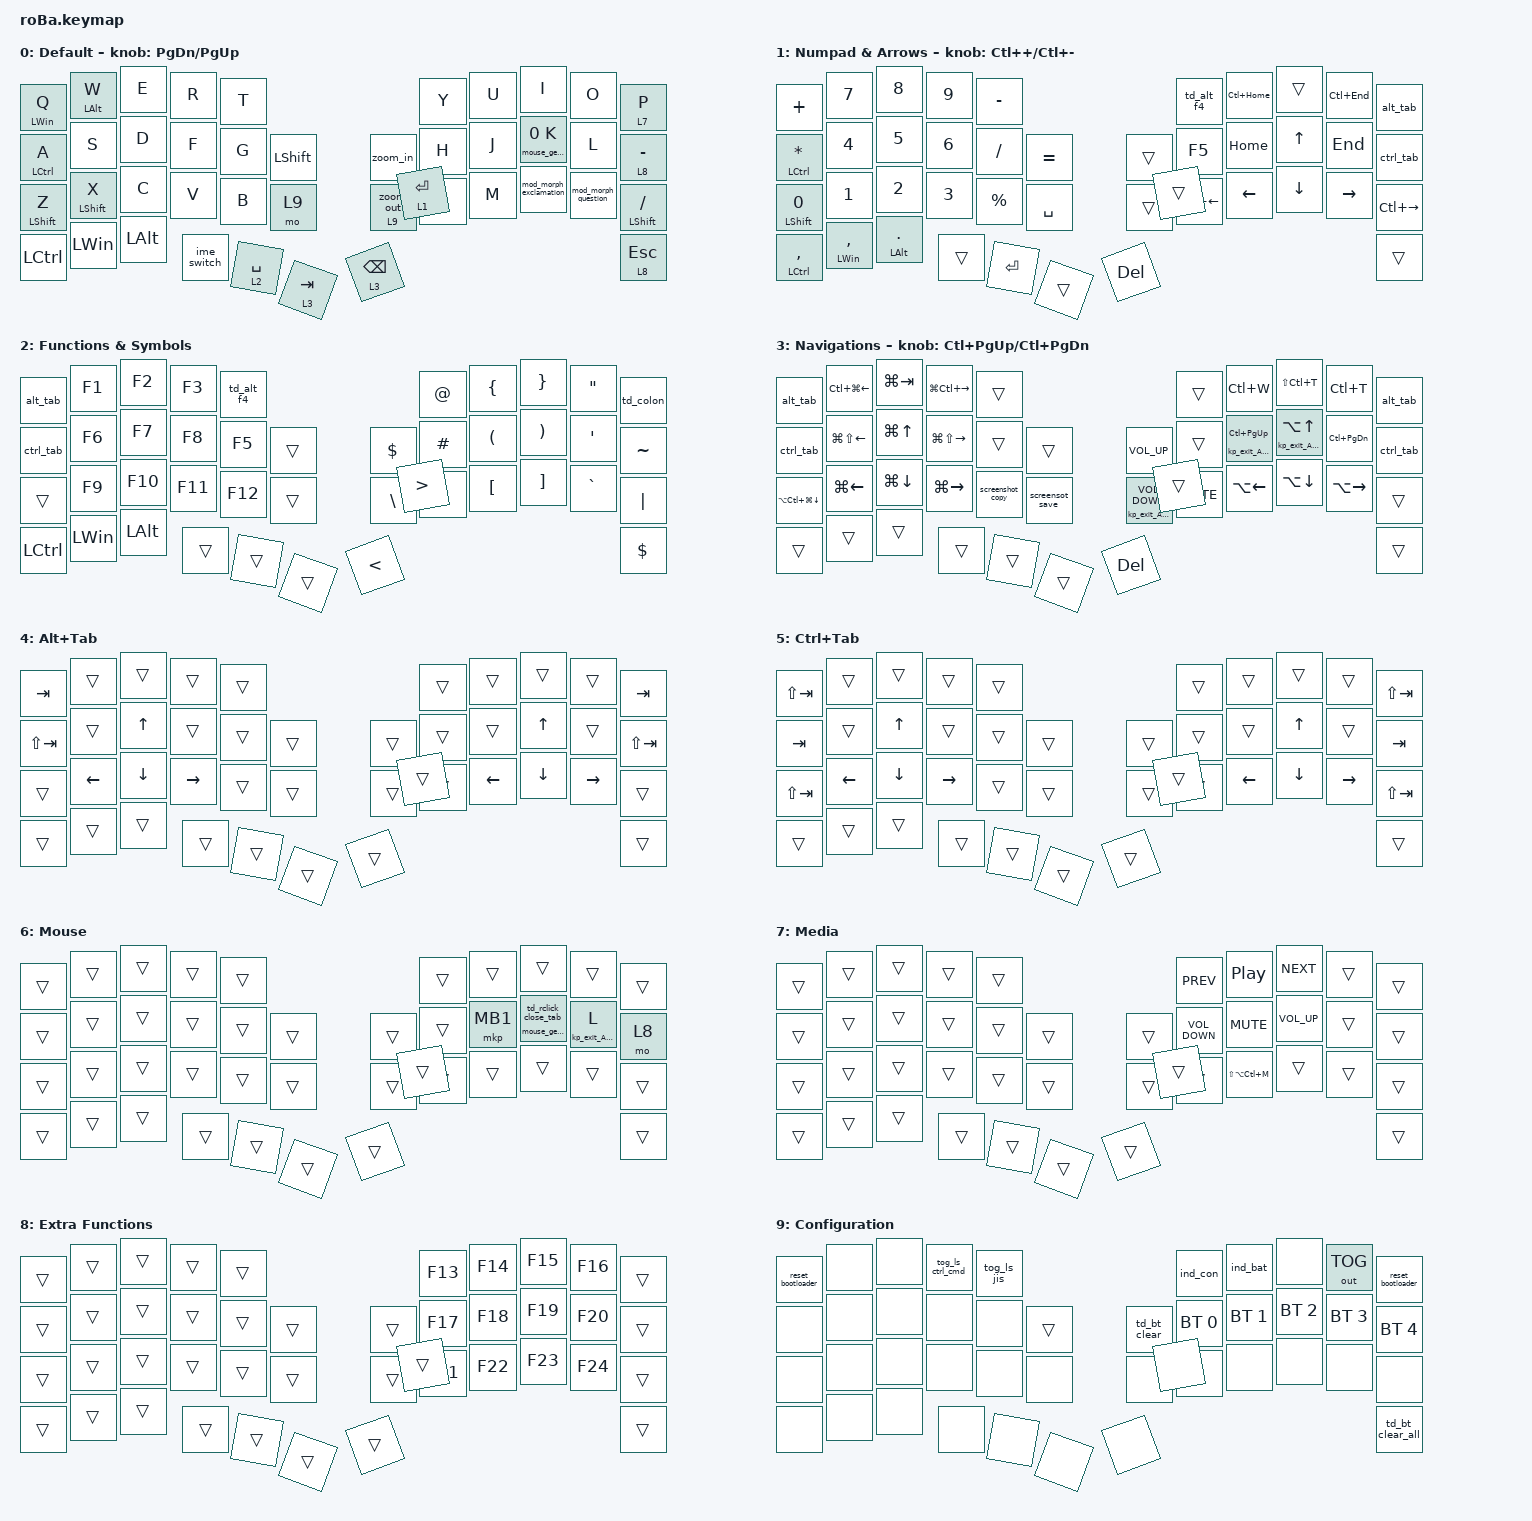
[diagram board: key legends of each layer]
#define ZMK_POINTING_DEFAULT_SCRL_VAL 1000

// #define ZMK_POINTING_DEFAULT_MOVE_VAL 700

#include <input/processors.dtsi>
#include <dt-bindings/zmk/input_transform.h>
#include <zephyr/dt-bindings/input/input-event-codes.h>
#include <behaviors/rgbled_widget.dtsi>
#include <input/processors/report_rate_limit.dtsi>
#include <behaviors/blueboot.dtsi>

#include <behaviors.dtsi>
#include <dt-bindings/zmk/bt.h>
#include <dt-bindings/zmk/keys.h>
#include <dt-bindings/zmk/outputs.h>
#include <dt-bindings/zmk/pointing.h>

#include <layout_shift_kp_override.dtsi>

/ {
    behaviors {
        tog_ls_jis: tog_ls_jis {
            compatible = "zmk,behavior-layout-shift-toggle";
            #binding-cells = <0>;
            toggle-mode = "flip";
            label = "LAYOUT_SHIFT_TOGGLE_US_TO_JIS";
            display-name = "Toggle Layout Shift";
            layout-maps = <&layout_shift_map_us_to_jis>;
        };

        tog_ls_ctrl_cmd: tog_ls_ctrl_cmd {
            compatible = "zmk,behavior-layout-shift-toggle";
            #binding-cells = <0>;
            toggle-mode = "flip";
            label = "LAYOUT_SHIFT_TOGGLE_CTRL_CMD";
            display-name = "Toggle Layout Shift";
            layout-maps = <&layout_shift_map_swap_ctrl_cmd>;
        };
    };
};

&layout_shift_map_us_to_jis { priority = <0>; };
&layout_shift_map_swap_ctrl_cmd { priority = <1>; };

#include <mouse-gesture.dtsi>

#include <scroll-snap.dtsi>

#define DEFAULT 0
#define NUMPAD_AND_ARROWS 1
#define FUNCTIONS_AND_SYMBOLS 2
#define NAV 3
#define ALT_TAB 4
#define CTRL_TAB 5
#define MOUSE 6
#define MEDIA 7
#define EXTRA_FINCTIONS 8
#define CONFIGURATION 9

#define POS_L_0_START 0
#define POS_L_1_START 10
#define POS_L_2_START 22
#define POS_L_3_START 34
#define POS_R_0_START (POS_L_0_START + 5)
#define POS_R_1_START (POS_L_1_START + 6)
#define POS_R_2_START (POS_L_2_START + 6)
#define POS_R_3_START (POS_L_3_START + 6)
#define POS_L_0_END (POS_R_0_START - 1)
#define POS_L_1_END (POS_R_1_START - 1)
#define POS_L_2_END (POS_R_2_START - 1)
#define POS_L_3_END (POS_R_3_START - 1)
#define POS_R_0_END (POS_L_1_START - 1)
#define POS_R_1_END (POS_L_2_START - 1)
#define POS_R_2_END (POS_L_3_START - 1)
#define POS_R_3_END (POS_L_3_START + 2)

&mt {
    tapping-term-ms = <200>;
    quick-tap-ms = <250>;
    flavor = "balanced";
};

&lt {
    tapping-term-ms = <200>;
    quick-tap-ms = <250>;
    flavor = "balanced";
};

&to { /delete-property/ locking; };

&tog { /delete-property/ locking; };

&sk { release-after-ms = <700>; };

&sl { release-after-ms = <1000>; };

&mouse_gesture_kp {
    tapping-term-ms = <200>;
    quick-tap-ms = <250>;
    flavor = "balanced";
};

&mouse_gesture_mkp {
    tapping-term-ms = <200>;
    quick-tap-ms = <250>;
    flavor = "balanced";
};

&zip_temp_layer {
    require-prior-idle-ms = <200>;
    excluded-positions = <
        (POS_R_1_START + 2) // J
        (POS_R_1_START + 3) // K
        (POS_R_1_START + 4) // L
        (POS_R_1_START + 5) // ;
        (POS_L_2_START) // Z
        (POS_L_3_START) // Ctrl
        (POS_R_3_END) // /
    >;
};

&mkp_input_listener { input-processors = <&zip_temp_layer MOUSE 10000>; };

&trackball {
    cpi = <800>;
    swap-xy;
    // invert-x;
    // invert-y;
};

&zip_mouse_gesture {
    stroke-size = <150>;
    enable-eager-mode;
    suppress-movement;

    history_back {
        pattern = <GESTURE_RIGHT>;
        bindings = <&kp LA(LEFT)>;
    };

    history_forward {
        pattern = <GESTURE_LEFT>;
        bindings = <&kp LA(RIGHT)>;
    };

    close_tab {
        pattern = <GESTURE_DOWN GESTURE_RIGHT>;
        bindings = <&kp LC(W)>;
    };

    new_tab {
        pattern = <GESTURE_DOWN GESTURE_LEFT>;
        bindings = <&kp LC(T)>;
    };

    app_switcher {
        pattern = <GESTURE_DOWN GESTURE_UP>;
        bindings = <&kp LG(TAB)>;
    };

    virtual_desktop_prev {
        pattern = <GESTURE_LEFT GESTURE_DOWN>;
        bindings = <&kp LG(LC(LEFT))>;
    };

    virtual_desktop_next {
        pattern = <GESTURE_RIGHT GESTURE_DOWN>;
        bindings = <&kp LG(LC(RIGHT))>;
    };

    // left {
    //     gesture = <GESTURE_LEFT>;
    //     bindings = <&kp LEFT>;
    // };
    // right {
    //     gesture = <GESTURE_RIGHT>;
    //     bindings = <&kp RIGHT>;
    // };
    // up {
    //     gesture = <GESTURE_UP>;
    //     bindings = <&kp UP>;
    // };
    // down {
    //     gesture = <GESTURE_DOWN>;
    //     bindings = <&kp DOWN>;
    // };
};

&zip_scroll_snap {
    require-n-samples = <8>;
    immediate-snap-threshold = <750>;
    lock-duration-ms = <175>;
    lock-for-next-n-events = <8>;
    idle-reset-timeout-ms = <175>;
};

&trackball_listener {
    compatible = "zmk,input-listener";
    input-processors = <
        &zip_xy_transform (INPUT_TRANSFORM_XY_SWAP | INPUT_TRANSFORM_X_INVERT)
        &zip_mouse_gesture
        &zip_report_rate_limit 11
        // &zip_cursor_snap
    >;

    auto-mouse-layer {
        layers = <DEFAULT MOUSE>;
        input-processors = <&zip_temp_layer MOUSE 10000>;
        process-next;
    };

    scroller-x {
        layers = <EXTRA_FINCTIONS>;
        input-processors = <
            &zip_xy_transform (INPUT_TRANSFORM_XY_SWAP | INPUT_TRANSFORM_X_INVERT | INPUT_TRANSFORM_Y_INVERT)
            &zip_xy_to_scroll_mapper
            &wheel_x_scaler 0 1
            &zip_report_rate_limit 15
        >;

        process-next;
    };

    scroller-xy {
        layers = <NAV MEDIA>;
        input-processors = <
            &zip_xy_transform (INPUT_TRANSFORM_XY_SWAP | INPUT_TRANSFORM_X_INVERT | INPUT_TRANSFORM_Y_INVERT)
            &zip_xy_to_scroll_mapper
            &zip_scroll_snap
            &zip_report_rate_limit 15
        >;

        process-next;
    };
};

/ {
    input_processors {
        wheel_x_scaler: wheel_x_scaler {
            compatible = "zmk,input-processor-scaler";
            #input-processor-cells = <2>;
            type = <INPUT_EV_REL>;
            codes = <INPUT_REL_HWHEEL>;
            track-remainders;
        };
    };

    layer_listeners {
        compatible = "zmk,layer-listeners";

        // release_alt {
        //     layers = <ALT_TAB>;
        //     bindings = <&kt_on LEFT_ALT &kt_off LEFT_ALT>;
        // };

        // release_ctrl {
        //     layers = <CTRL_TAB>;
        //     bindings = <&kt_on LCTRL &kt_off LCTRL>;
        // };

        // AML_indicator {
        //     layers = <MOUSE>;
        //     bindings = <&kp LS(LA(LC(LG(H)))) &kp LS(LA(LC(LG(H))))>;
        // };
        // AML {
        //     layers = <MOUSE>;
        //     bindings = <&to MOUSE &none>;
        // };
    };

    combos {
        compatible = "zmk,combos";

        eq {
            bindings = <&kp EQUAL>;
            key-positions = <0 1>;
            layers = <1>;
        };

        hat {
            bindings = <&kp CARET>;
            key-positions = <10 11>;
            layers = <1>;
        };

        middle_click {
            bindings = <&mkp MCLK>;
            key-positions = <18 19>;
            layers = <6>;
        };

        shift_middle_click {
            bindings = <&mkp_with_mod LEFT_SHIFT MCLK>;
            key-positions = <19 20>;
            layers = <6>;
        };

        Escape {
            bindings = <&kp ESCAPE>;
            key-positions = <0 1>;
            layers = <0>;
            require-prior-idle-ms = <300>;
        };

        caps_word {
            bindings = <&caps_word>;
            key-positions = <22 33>;
            layers = <0>;
            require-prior-idle-ms = <300>;
        };

        dot_slash_backslash {
            bindings = <&kp BACKSLASH>;
            key-positions = <33 32>;
            layers = <0>;
        };

        Ctrl_A {
            bindings = <&kp LC(A)>;
            key-positions = <10 11>;
            layers = <0>;
            require-prior-idle-ms = <300>;
        };

        Ctrl_Z {
            bindings = <&kp LC(Z)>;
            key-positions = <23 22>;
            layers = <0>;
            require-prior-idle-ms = <300>;
        };
    };

    macros {
        /omit-if-no-ref/

        exit_AML: exit_AML {
            compatible = "zmk,behavior-macro";
            wait-ms = <0>;
            tap-ms = <0>;
            #binding-cells = <0>;
            bindings = <&tog_off 6>;
        };

        /omit-if-no-ref/

        kp_exit_AML: kp_exit_AML {
            compatible = "zmk,behavior-macro-one-param";
            wait-ms = <0>;
            tap-ms = <0>;
            #binding-cells = <1>;
            bindings = <&macro_param_1to1 &kp MACRO_PLACEHOLDER &exit_AML>;
        };

        /omit-if-no-ref/

        mod_exit_AML: mod_exit_AML {
            compatible = "zmk,behavior-macro-one-param";
            wait-ms = <0>;
            tap-ms = <0>;
            #binding-cells = <1>;
            bindings =
                <&macro_press>,
                <&macro_param_1to1 &kp MACRO_PLACEHOLDER>,
                <&macro_tap>,
                <&exit_AML>,
                <&macro_pause_for_release>,
                <&macro_release>,
                <&macro_param_1to1 &kp MACRO_PLACEHOLDER>;
        };

        /omit-if-no-ref/

        mkp_exit_AML: mkp_exit_AML {
            compatible = "zmk,behavior-macro-one-param";
            #binding-cells = <1>;
            bindings =
                <&macro_press>,
                <&macro_param_1to1 &mkp MACRO_PLACEHOLDER>,
                <&macro_pause_for_release>,
                <&macro_release>,
                <&macro_param_1to1 &mkp MACRO_PLACEHOLDER>,
                <&macro_tap>,
                <&sl 6>;
        };

        /omit-if-no-ref/

        mo_exit_AML: mo_exit_AML {
            compatible = "zmk,behavior-macro-one-param";
            wait-ms = <0>;
            tap-ms = <0>;
            #binding-cells = <1>;
            bindings =
                <&macro_press>,
                <&macro_param_1to1 &mo MACRO_PLACEHOLDER>,
                <&macro_tap>,
                <&exit_AML>,
                <&macro_pause_for_release>,
                <&macro_release>,
                <&macro_param_1to1 &mo MACRO_PLACEHOLDER>,
                <&macro_tap>;
        };

        /omit-if-no-ref/
        ime_switch: ime_switch {
            compatible = "zmk,behavior-adaptive-key";
            #binding-cells = <0>;
            bindings = <&kp LANGUAGE_2>; // ime_off

            ime_on {
                trigger-keys = <LANGUAGE_1 LANGUAGE_2>;
                bindings = <&kp LANGUAGE_1>;
                max-prior-idle-ms = <250>;
            };
        };

        /omit-if-no-ref/
        alt_tab: alt_tab {
            compatible = "zmk,behavior-smart-toggle";
            #binding-cells = <0>;
            bindings = <&mokp 4 LALT>, <&kp TAB>;
            ignored-key-positions = <
                (POS_L_1_START) // shift+tab
                (POS_R_1_END) // shift+tab

                (POS_R_1_START+2) // click

                (POS_L_1_START + 2) // ↑
                (POS_L_2_START + 1) // ←
                (POS_L_2_START + 2) // ↓
                (POS_L_2_START + 3) // →

                (POS_R_1_START + 3) // ↑
                (POS_R_2_START + 2) // ←
                (POS_R_2_START + 3) // ↓
                (POS_R_2_START + 4) // →
            >;
        };

        /omit-if-no-ref/

        ctrl_tab: ctrl_tab {
            compatible = "zmk,behavior-smart-toggle";
            #binding-cells = <0>;
            bindings = <&mokp 5 LCTRL>, <&kp TAB>;
            ignored-key-positions = <
                (POS_L_0_START) // shift+tab
                (POS_L_2_START) // shift+tab
                (POS_R_0_END) // shift+tab
                (POS_R_2_END) // shift+tab

                (POS_R_1_START+2) // click

                (POS_L_1_START + 2) // ↑
                (POS_L_2_START + 1) // ←
                (POS_L_2_START + 2) // ↓
                (POS_L_2_START + 3) // →

                (POS_R_1_START + 3) // ↑
                (POS_R_2_START + 2) // ←
                (POS_R_2_START + 3) // ↓
                (POS_R_2_START + 4) // →
            >;
        };

        /omit-if-no-ref/

        mokp: mokp {
            compatible = "zmk,behavior-macro-two-param";
            wait-ms = <0>;
            tap-ms = <0>;
            #binding-cells = <2>;
            bindings =
                <&macro_press>,
                <&macro_param_1to1 &mo MACRO_PLACEHOLDER>,
                <&macro_param_2to1 &kp MACRO_PLACEHOLDER>,
                <&macro_pause_for_release>,
                <&macro_release>,
                <&macro_param_1to1 &mo MACRO_PLACEHOLDER>,
                <&macro_param_2to1 &kp MACRO_PLACEHOLDER>;
        };

        /omit-if-no-ref/

        kp_to: kp_to {
            compatible = "zmk,behavior-macro-two-param";
            wait-ms = <0>;
            tap-ms = <0>;
            #binding-cells = <2>;
            bindings = <&macro_param_1to1 &kp MACRO_PLACEHOLDER &macro_param_2to1 &to MACRO_PLACEHOLDER>;
        };

        /omit-if-no-ref/

        to_kp: to_kp {
            compatible = "zmk,behavior-macro-two-param";
            #binding-cells = <2>;
            bindings = <&macro_param_1to1 &to MACRO_PLACEHOLDER &macro_param_2to1 &kp MACRO_PLACEHOLDER>;
        };

        /omit-if-no-ref/

        zoom_in: zoom_in {
            compatible = "zmk,behavior-macro";
            #binding-cells = <0>;
            bindings = <&kt_on LCTRL &msc SCRL_UP &kt_off LCTRL>;
        };

        /omit-if-no-ref/

        zoom_out: zoom_out {
            compatible = "zmk,behavior-macro";
            #binding-cells = <0>;
            bindings = <&kt_on LCTRL &msc SCRL_DOWN &kt_off LCTRL>;
        };
    };

    behaviors {
        /omit-if-no-ref/

        tog_on: toggle_layer_on {
            compatible = "zmk,behavior-toggle-layer";
            #binding-cells = <1>;
            display-name = "Toggle Layer On";
            toggle-mode = "on";
        };

        /omit-if-no-ref/

        tog_off: toggle_layer_off {
            compatible = "zmk,behavior-toggle-layer";
            #binding-cells = <1>;
            display-name = "Toggle Layer Off";
            toggle-mode = "off";
        };

        /omit-if-no-ref/

        kt_on: key_toggle_on_only {
            compatible = "zmk,behavior-key-toggle";
            #binding-cells = <1>;
            display-name = "Key Toggle On";
            toggle-mode = "on";
        };

        /omit-if-no-ref/

        kt_off: key_toggle_off_only {
            compatible = "zmk,behavior-key-toggle";
            #binding-cells = <1>;
            display-name = "Key Toggle Off";
            toggle-mode = "off";
        };

        /omit-if-no-ref/

        td_colon: td_colon {
            compatible = "zmk,behavior-tap-dance";
            #binding-cells = <0>;
            bindings = <&kp COLON>, <&kp SEMICOLON>;

            tapping-term-ms = <250>;
        };

        /omit-if-no-ref/

        td_q_escape: td_q_escape {
            compatible = "zmk,behavior-tap-dance";
            #binding-cells = <0>;
            tapping-term-ms = <250>;
            bindings = <&kp Q>, <&kp ESCAPE>;
        };

        /omit-if-no-ref/

        td_ZenkakuHankaku: td_ZenkakuHankaku {
            compatible = "zmk,behavior-tap-dance";

            // compatible = "zmk,behavior-eager-tap-dance";

            #binding-cells = <0>;
            tapping-term-ms = <250>;
            bindings = <&kp LANGUAGE_2>, <&kp LANGUAGE_1>;
        };

        /omit-if-no-ref/

        td_ZenkakuHankaku_exit_AML: td_ZenkakuHankaku_exit_AML {
            wait-ms = <0>;
            tap-ms = <0>;
            compatible = "zmk,behavior-macro";
            #binding-cells = <0>;
            bindings = <&td_ZenkakuHankaku &exit_AML>;
        };

        /omit-if-no-ref/

        windows_sleep: windows_sleep {
            compatible = "zmk,behavior-macro";
            wait-ms = <200>;
            tap-ms = <100>;
            #binding-cells = <0>;
            bindings = <&kp LG(X) &kp U &kp S>;
        };

        /omit-if-no-ref/

        screensot_save: screensot_save {
            compatible = "zmk,behavior-macro";
            #binding-cells = <0>;
            bindings = <&kp LS(F11)>;
            label = "SCREENSOT_SAVE";
        };

        mkp_with_mod: mkp_with_mod {
            compatible = "zmk,behavior-macro-two-param";
            #binding-cells = <2>;
            bindings =
                <&macro_press>,
                <&macro_param_1to1 &kp MACRO_PLACEHOLDER &macro_param_2to1 &mkp MACRO_PLACEHOLDER>,
                <&macro_pause_for_release>,
                <&macro_release>,
                <&macro_param_2to1 &mkp MACRO_PLACEHOLDER &macro_param_1to1 &kp MACRO_PLACEHOLDER>;

            label = "MKP_WITH_MOD";
        };

        /omit-if-no-ref/

        screenshot_copy: screenshot_copy {
            compatible = "zmk,behavior-mod-morph";
            bindings = <&kp LA(PRINTSCREEN)>, <&kp LA(PRINTSCREEN)>;

            #binding-cells = <0>;
            mods = <(MOD_LSFT|MOD_LALT)>;
            keep-mods = <(MOD_LALT)>;
        };

        /omit-if-no-ref/

        mod_morph_exclamation: mod_morph_exclamation {
            compatible = "zmk,behavior-mod-morph";
            bindings = <&kp COMMA>, <&kp EXCL>;

            #binding-cells = <0>;
            mods = <(MOD_LSFT)>;
        };

        /omit-if-no-ref/

        mod_morph_question: mod_morph_question {
            compatible = "zmk,behavior-mod-morph";
            bindings = <&kp PERIOD>, <&kp QUESTION>;

            #binding-cells = <0>;
            mods = <(MOD_LSFT)>;
        };

        /omit-if-no-ref/

        mod_morph_slash: mod_morph_slash {
            compatible = "zmk,behavior-mod-morph";
            bindings = <&kp SLASH>, <&kp BACKSLASH>;

            #binding-cells = <0>;
            mods = <(MOD_LSFT)>;
        };

        /omit-if-no-ref/

        td_alt_f4: td_alt_f4 {
            compatible = "zmk,behavior-tap-dance";
            #binding-cells = <0>;
            bindings = <&kp F4>, <&kp LA(F4)>;

            tapping-term-ms = <250>;
        };

        /omit-if-no-ref/

        lt_exit_AML: lt_exit_AML {
            compatible = "zmk,behavior-hold-tap";
            bindings = <&mo_exit_AML>, <&kp_exit_AML>;

            #binding-cells = <2>;
            tapping-term-ms = <200>;
            quick-tap-ms = <200>;
            flavor = "balanced";
        };

        /omit-if-no-ref/

        lt_exit_AML_on_hold: lt_exit_AML_on_hold {
            compatible = "zmk,behavior-hold-tap";
            bindings = <&mo_exit_AML>, <&kp>;

            #binding-cells = <2>;
            tapping-term-ms = <200>;
            quick-tap-ms = <200>;
            flavor = "balanced";
        };

        /omit-if-no-ref/

        mt_exit_AML: mt_exit_AML {
            compatible = "zmk,behavior-hold-tap";
            bindings = <&mod_exit_AML>, <&kp_exit_AML>;

            #binding-cells = <2>;
            tapping-term-ms = <200>;
            flavor = "balanced";
            quick-tap-ms = <200>;
        };

        /omit-if-no-ref/

        mt_exit_AML_on_tap: mt_exit_AML_on_tap {
            compatible = "zmk,behavior-hold-tap";
            bindings = <&kp>, <&kp_exit_AML>;

            #binding-cells = <2>;
            tapping-term-ms = <200>;
            flavor = "balanced";
            quick-tap-ms = <200>;
        };

        /omit-if-no-ref/

        encoder_zoom: encoder_zoom {
            compatible = "zmk,behavior-sensor-rotate";
            #sensor-binding-cells = <0>;
            bindings = <&zoom_out>, <&zoom_in>;
        };

        /omit-if-no-ref/

        encoder_volume: encoder_volume {
            compatible = "zmk,behavior-sensor-rotate";
            #sensor-binding-cells = <0>;
            bindings = <&kp C_VOLUME_DOWN>, <&kp C_VOLUME_UP>;
        };

        // /omit-if-no-ref/

        lt_zoom_out: lt_zoom_out {
            compatible = "zmk,behavior-hold-tap";
            bindings = <&mo>, <&zoom_out>;

            #binding-cells = <2>;
            tapping-term-ms = <200>;
            quick-tap-ms = <200>;
            flavor = "balanced";
        };

        /omit-if-no-ref/

        td_bt_clear: td_bt_clear {
            compatible = "zmk,behavior-tap-dance";
            #binding-cells = <0>;
            bindings = <&none>, <&none>, <&bt BT_CLR>;

            tapping-term-ms = <250>;
        };

        /omit-if-no-ref/

        td_bt_clear_all: td_bt_clear_all {
            compatible = "zmk,behavior-tap-dance";
            #binding-cells = <0>;
            tapping-term-ms = <250>;
            bindings = <&none>, <&none>, <&bt BT_CLR_ALL>;
        };

        /omit-if-no-ref/

        td_copy_paste: td_copy_paste {
            compatible = "zmk,behavior-tap-dance";
            #binding-cells = <0>;
            bindings = <&kp_exit_AML LC(C)>, <&kp_exit_AML LC(V)>;

            tapping-term-ms = <250>;
        };

        /omit-if-no-ref/

        hold_bootloader: hold_bootloader {
            compatible = "zmk,behavior-hold-tap";
            #binding-cells = <2>;
            bindings = <&bootloader>, <&none>;

            tapping-term-ms = <250>;
            flavor = "tap-preferred";
        };

        /omit-if-no-ref/

        reset_blueboot: reset_blueboot {
            compatible = "zmk,behavior-hold-tap";
            #binding-cells = <2>;
            bindings = <&blueboot>, <&sys_reset>;

            tapping-term-ms = <250>;
            flavor = "tap-preferred";
        };

        /omit-if-no-ref/

        reset_bootloader: reset_bootloader {
            compatible = "zmk,behavior-tap-dance";
            #binding-cells = <0>;
            bindings = <&hold_bootloader 0 0>, <&reset_blueboot 0 0>;

            tapping-term-ms = <300>;
        };

        /omit-if-no-ref/

        td_rclick_close_tab: td_rclick_close_tab {
            compatible = "zmk,behavior-tap-dance";
            #binding-cells = <0>;
            bindings = <&mkp RCLK>, <&kp LC(W)>;

            tapping-term-ms = <250>;
        };

        /omit-if-no-ref/

        td_rclick_close_tab_mouse_gesture: td_rclick_close_tab_mouse_gesture {
            compatible = "zmk,behavior-hold-tap";
            #binding-cells = <2>;
            bindings = <&mouse_gesture>, <&td_rclick_close_tab>;

            tapping-term-ms = <150>;
            flavor = "balanced";
        };
    };

    keymap {
        compatible = "zmk,keymap";

        DEFAULT {
            display-name = "Default";

            bindings = <
&mt LWIN Q                        &mt LALT W        &kp E         &kp R        &kp T                                              &kp Y        &kp U  &kp I                   &kp O                &lt 7 P
&mt LCTRL A                       &kp S             &kp D         &kp F        &kp G        &kp LEFT_SHIFT      &zoom_in          &kp H        &kp J  &mouse_gesture_kp 0 K   &kp L                &lt 8 MINUS
&mt_exit_AML_on_tap LEFT_SHIFT Z  &mt LEFT_SHIFT X  &kp C         &kp V        &kp B        &mo 9               &lt_zoom_out 9 0  &kp N        &kp M  &mod_morph_exclamation  &mod_morph_question  &mt LEFT_SHIFT SLASH
&kp LCTRL                         &kp LEFT_WIN      &kp LEFT_ALT  &ime_switch  &lt 2 SPACE  &lt 3 TAB           &lt 3 BACKSPACE   &lt 1 ENTER                                                      &lt 8 ESCAPE
            >;

            sensor-bindings = <&inc_dec_kp PG_DN PG_UP>;
        };

        NUMPAD_AND_ARROWS {
            display-name = "Numpad & Arrows";

            bindings = <
&kp PLUS            &kp N7              &kp N8               &kp N9  &kp MINUS                               &td_alt_f4    &kp LC(HOME)  &trans        &kp LC(END)  &alt_tab
&mt LCTRL ASTERISK  &kp N4              &kp N5               &kp N6  &kp SLASH    &kp EQUAL      &trans      &kp F5        &kp HOME      &kp UP_ARROW  &kp END      &ctrl_tab
&mt LEFT_SHIFT N0   &kp N1              &kp N2               &kp N3  &kp PERCENT  &kp SPACE      &trans      &kp LC(LEFT)  &kp LEFT      &kp DOWN      &kp RIGHT    &kp LC(RIGHT)
&mt LCTRL COMMA     &mt LEFT_WIN COMMA  &mt LEFT_ALT PERIOD  &trans  &kp ENTER    &trans         &kp DELETE  &trans                                                 &trans
            >;

            sensor-bindings = <&inc_dec_kp LC(PLUS) LC(MINUS)>;
        };

        FUNCTIONS_AND_SYMBOLS {
            display-name = "Functions & Symbols";

            bindings = <
&alt_tab   &kp F1        &kp F2        &kp F3   &td_alt_f4                             &kp AT_SIGN       &kp LEFT_BRACE        &kp RIGHT_BRACE        &kp DOUBLE_QUOTES  &td_colon
&ctrl_tab  &kp F6        &kp F7        &kp F8   &kp F5      &trans      &kp DOLLAR     &kp HASH          &kp LEFT_PARENTHESIS  &kp RIGHT_PARENTHESIS  &kp SINGLE_QUOTE   &kp TILDE
&trans     &kp F9        &kp F10       &kp F11  &kp F12     &trans      &kp BSLH       &kp AMPERSAND     &kp LEFT_BRACKET      &kp RIGHT_BRACKET      &kp GRAVE          &kp PIPE
&kp LCTRL  &kp LEFT_WIN  &kp LEFT_ALT  &trans   &trans      &trans      &kp LESS_THAN  &kp GREATER_THAN                                                                  &kp DOLLAR
            >;
        };

        NAV {
            display-name = "Navigations";

            bindings = <
&alt_tab              &kp LC(LG(LEFT))        &kp LG(TAB)       &kp LG(LC(RIGHT))        &trans                                                             &trans       &kp LC(W)                 &kp LS(LC(T))              &kp LC(T)          &alt_tab
&ctrl_tab             &kp LG(LS(LEFT_ARROW))  &kp LG(UP_ARROW)  &kp LG(LS(RIGHT_ARROW))  &trans            &trans               &kp C_VOLUME_UP             &trans      &kp_exit_AML LC(PAGE_UP)  &kp_exit_AML LA(UP_ARROW)  &kp LC(PAGE_DOWN)  &ctrl_tab
&kp LA(LC(LG(DOWN)))  &kp LG(LEFT_ARROW)      &kp LG(DOWN)      &kp LG(RIGHT_ARROW)      &screenshot_copy  &screensot_save      &kp_exit_AML C_VOLUME_DOWN  &kp C_MUTE  &kp LA(LEFT)              &kp LA(DOWN)               &kp LA(RIGHT)      &trans
&trans                &trans                  &trans            &trans                   &trans            &trans               &kp DELETE                  &trans                                                                              &trans
            >;

            sensor-bindings = <&inc_dec_kp LC(PAGE_UP) LC(PAGE_DOWN)>;
        };

        ALT_TAB {
            display-name = "Alt+Tab";

            bindings = <
&kp TAB      &trans    &trans    &trans     &trans                      &trans  &trans    &trans    &trans     &kp TAB
&kp LS(TAB)  &trans    &kp UP    &trans     &trans  &trans      &trans  &trans  &trans    &kp UP    &trans     &kp LS(TAB)
&trans       &kp LEFT  &kp DOWN  &kp RIGHT  &trans  &trans      &trans  &trans  &kp LEFT  &kp DOWN  &kp RIGHT  &trans
&trans       &trans    &trans    &trans     &trans  &trans      &trans  &trans                                 &trans
            >;
        };

        CTRL_TAB {
            display-name = "Ctrl+Tab";

            bindings = <
&kp LS(TAB)  &trans    &trans    &trans     &trans                      &trans  &trans    &trans    &trans     &kp LS(TAB)
&kp TAB      &trans    &kp UP    &trans     &trans  &trans      &trans  &trans  &trans    &kp UP    &trans     &kp TAB
&kp LS(TAB)  &kp LEFT  &kp DOWN  &kp RIGHT  &trans  &trans      &trans  &trans  &kp LEFT  &kp DOWN  &kp RIGHT  &kp LS(TAB)
&trans       &trans    &trans    &trans     &trans  &trans      &trans  &trans                                 &trans
            >;
        };

        MOUSE {
            display-name = "Mouse";

            bindings = <
&trans  &trans  &trans  &trans  &trans                      &trans  &trans    &trans                                  &trans           &trans
&trans  &trans  &trans  &trans  &trans  &trans      &trans  &trans  &mkp MB1  &td_rclick_close_tab_mouse_gesture 0 0  &kp_exit_AML L   &mo 8
&trans  &trans  &trans  &trans  &trans  &trans      &trans  &trans  &trans    &trans                                  &trans           &trans
&trans  &trans  &trans  &trans  &trans  &trans      &trans  &trans                                                                     &trans
            >;
        };

        MEDIA {
            display-name = "Media";

            bindings = <
&trans  &trans  &trans  &trans  &trans                      &kp C_PREV         &kp C_PLAY_PAUSE   &kp C_NEXT       &trans  &trans
&trans  &trans  &trans  &trans  &trans  &trans      &trans  &kp C_VOLUME_DOWN  &kp C_MUTE         &kp C_VOLUME_UP  &trans  &trans
&trans  &trans  &trans  &trans  &trans  &trans      &trans  &trans             &kp LS(LA(LC(M)))  &trans           &trans  &trans
&trans  &trans  &trans  &trans  &trans  &trans      &trans  &trans                                                         &trans
            >;
        };

        EXTRA_FINCTIONS {
            display-name = "Extra Functions";

            bindings = <
&trans  &trans  &trans  &trans  &trans                      &kp F13  &kp F14  &kp F15  &kp F16  &trans
&trans  &trans  &trans  &trans  &trans  &trans      &trans  &kp F17  &kp F18  &kp F19  &kp F20  &trans
&trans  &trans  &trans  &trans  &trans  &trans      &trans  &kp F21  &kp F22  &kp F23  &kp F24  &trans
&trans  &trans  &trans  &trans  &trans  &trans      &trans  &trans                              &trans
            >;
        };

        CONFIGURATION {
            display-name = "Configuration";

            bindings = <
&reset_bootloader        &none  &none  &tog_ls_ctrl_cmd  &tog_ls_jis                            &ind_con      &ind_bat      &none         &out OUT_TOG  &reset_bootloader      
&none                  &none  &none  &none             &none        &trans      &td_bt_clear  &bt BT_SEL 0  &bt BT_SEL 1  &bt BT_SEL 2  &bt BT_SEL 3  &bt BT_SEL 4
&none                  &none  &none  &none             &none        &none       &none         &none         &none         &none         &none         &none
&none                  &none  &none  &none             &none        &none       &none         &none                                                   &td_bt_clear_all
            >;
        };
    };
};
